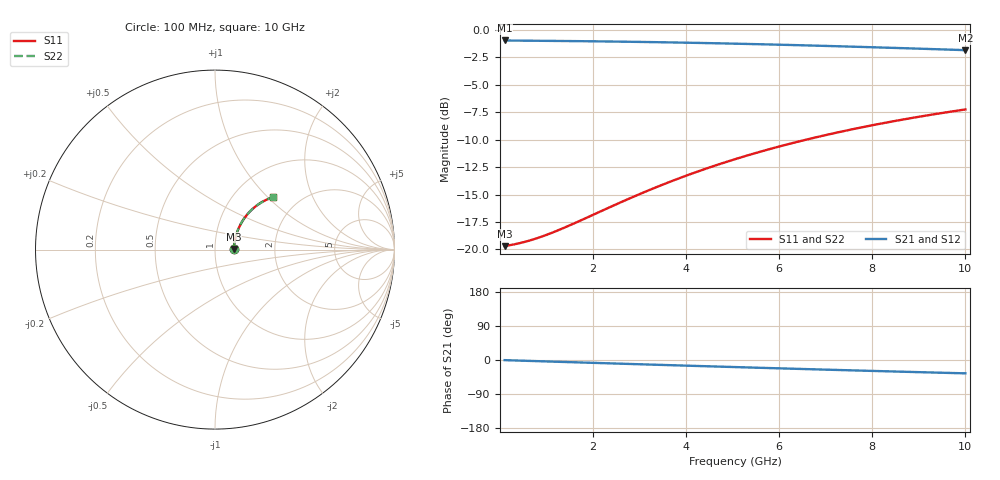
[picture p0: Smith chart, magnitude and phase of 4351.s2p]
# Hz S RI R 50.00
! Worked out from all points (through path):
!   100 points, 100 MHz to 10 GHz, reference 50 ohm
!   highest |S21| = -0.95 dB at 100 MHz (marker M1); lowest = -1.8 dB at 10 GHz (marker M2)
!   group delay of S21, straight-line fit = 9.82 ps
!   lowest |S11| = -19.7 dB at 100 MHz (marker M3), VSWR 1.23, Z = 61.5 + j0.52 ohm
!   |S11| at or under -10 dB: start of sweep to 6.577 GHz
!   |S22| runs from -19.7 to -7.2 dB; largest |S21 - S12| = 0
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1e8  0.1033 0.00418  0.8967 -0.00592  0.8967 -0.00592  0.1033 0.00418
3e8  0.1046 0.0125  0.8954 -0.0177  0.8954 -0.0177  0.1046 0.0125
5e8  0.1057 0.0208  0.8943 -0.0295  0.8943 -0.0295  0.1057 0.0208
8e8  0.1075 0.0332  0.8924 -0.047  0.8924 -0.047  0.1075 0.0332
1e9  0.1088 0.0414  0.891 -0.0587  0.891 -0.0587  0.1088 0.0414
1.2e9  0.1103 0.0495  0.8894 -0.0703  0.8894 -0.0703  0.1103 0.0495
1.5e9  0.113 0.0616  0.8867 -0.0877  0.8867 -0.0877  0.113 0.0616
1.8e9  0.116 0.0736  0.8834 -0.1048  0.8834 -0.1048  0.116 0.0736
2.7e9  0.1277 0.1086  0.8712 -0.1554  0.8712 -0.1554  0.1277 0.1086
3.1e9  0.134 0.1235  0.8644 -0.1773  0.8644 -0.1773  0.134 0.1235
3.4e9  0.1393 0.1344  0.8589 -0.1935  0.8589 -0.1935  0.1393 0.1344
3.8e9  0.1468 0.1486  0.8508 -0.2146  0.8508 -0.2146  0.1468 0.1486
4.2e9  0.1551 0.1623  0.8421 -0.2352  0.8421 -0.2352  0.1551 0.1623
4.6e9  0.1639 0.1754  0.8327 -0.2554  0.8327 -0.2554  0.1639 0.1754
5.1e9  0.1758 0.1911  0.8201 -0.2798  0.8201 -0.2798  0.1758 0.1911
5.5e9  0.1858 0.2029  0.8093 -0.2986  0.8093 -0.2986  0.1858 0.2029
5.9e9  0.1964 0.2142  0.798 -0.3169  0.798 -0.3169  0.1964 0.2142
6.7e9  0.2187 0.2347  0.774 -0.3515  0.774 -0.3515  0.2187 0.2347
7.5e9  0.2425 0.2527  0.7484 -0.3835  0.7484 -0.3835  0.2425 0.2527
8.4e9  0.2705 0.2697  0.7181 -0.4165  0.7181 -0.4165  0.2705 0.2697
9.2e9  0.296 0.282  0.6902 -0.443  0.6902 -0.443  0.296 0.282
1e10  0.322 0.2917  0.6617 -0.467  0.6617 -0.467  0.322 0.2917
